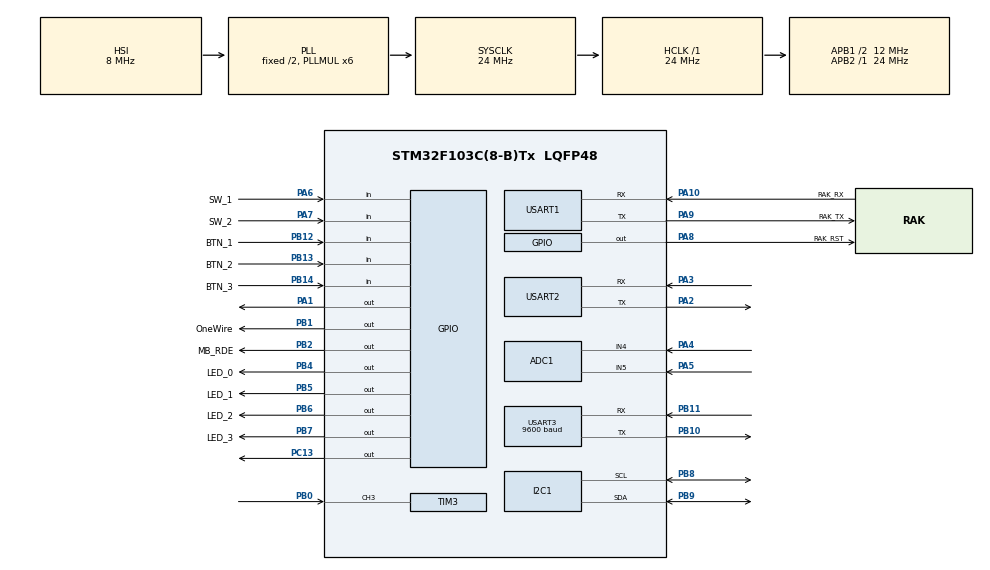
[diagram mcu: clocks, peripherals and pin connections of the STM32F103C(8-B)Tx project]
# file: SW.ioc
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ADC1.Channel-4\#ChannelRegularConversion=ADC_CHANNEL_4
ADC1.Channel-5\#ChannelRegularConversion=ADC_CHANNEL_5
ADC1.ContinuousConvMode=ENABLE
ADC1.DiscontinuousConvMode=DISABLE
ADC1.EnableRegularConversion=ENABLE
ADC1.NbrOfConversion=2
ADC1.NbrOfConversionFlag=1
ADC1.Rank-4\#ChannelRegularConversion=1
ADC1.Rank-5\#ChannelRegularConversion=2
ADC1.SamplingTime-4\#ChannelRegularConversion=ADC_SAMPLETIME_7CYCLES_5
ADC1.SamplingTime-5\#ChannelRegularConversion=ADC_SAMPLETIME_7CYCLES_5
ADC1.master=1
FREERTOS.HEAP_NUMBER=4
FREERTOS.MEMORY_ALLOCATION=2
FREERTOS.Tasks01=defaultTask,0,512,StartDefaultTask,Default,NULL,Static,defaultTaskBuffer,defaultTaskControlBlock
FREERTOS.configMAX_TASK_NAME_LEN=30
FREERTOS.configTOTAL_HEAP_SIZE=10240
FREERTOS.configUSE_TIMERS=1
I2C1.I2C_Mode=I2C_Standard
Mcu.Family=STM32F1
Mcu.Name=STM32F103C(8-B)Tx
Mcu.Package=LQFP48
NVIC.PriorityGroup=NVIC_PRIORITYGROUP_4
NVIC.TIM1_UP_IRQn=true\:0\:0\:false\:false\:true\:false\:false\:true
NVIC.TIM2_IRQn=true\:0\:0\:false\:false\:true\:true\:true\:true
NVIC.TIM3_IRQn=true\:0\:0\:false\:false\:true\:true\:true\:true
NVIC.TimeBase=TIM1_UP_IRQn
NVIC.TimeBaseIP=TIM1
NVIC.USART1_IRQn=true\:0\:0\:false\:false\:true\:true\:true\:true
NVIC.USART2_IRQn=true\:0\:0\:false\:false\:true\:true\:true\:true
NVIC.USART3_IRQn=true\:0\:0\:false\:false\:true\:true\:true\:true
PA1.Signal=GPIO_Output
PA10.GPIO_Label=RAK_RX
PA10.Mode=Asynchronous
PA10.Signal=USART1_RX
PA13.Mode=Serial_Wire
PA13.Signal=SYS_JTMS-SWDIO
PA14.Mode=Serial_Wire
PA14.Signal=SYS_JTCK-SWCLK
PA2.Mode=Asynchronous
PA2.Signal=USART2_TX
PA3.Mode=Asynchronous
PA3.Signal=USART2_RX
PA4.Signal=ADCx_IN4
PA5.Signal=ADCx_IN5
PA6.GPIO_Label=SW_1
PA6.Signal=GPIO_Input
PA7.GPIO_Label=SW_2
PA7.Signal=GPIO_Input
PA8.GPIO_Label=RAK_RST
PA8.PinState=GPIO_PIN_RESET
PA8.Signal=GPIO_Output
PA9.GPIO_Label=RAK_TX
PA9.Mode=Asynchronous
PA9.Signal=USART1_TX
PB0.Signal=S_TIM3_CH3
PB1.GPIO_Label=OneWire
PB1.Signal=GPIO_Output
PB10.Mode=Asynchronous
PB10.Signal=USART3_TX
PB11.Mode=Asynchronous
PB11.Signal=USART3_RX
PB12.GPIO_Label=BTN_1
PB12.GPIO_PuPd=GPIO_PULLUP
PB12.Signal=GPIO_Input
PB13.GPIO_Label=BTN_2
PB13.GPIO_PuPd=GPIO_PULLUP
PB13.Signal=GPIO_Input
PB14.GPIO_Label=BTN_3
PB14.GPIO_PuPd=GPIO_PULLUP
PB14.Signal=GPIO_Input
PB2.GPIO_Label=MB_RDE
PB2.GPIO_PuPd=GPIO_PULLUP
PB2.Signal=GPIO_Output
PB4.GPIO_Label=LED_0
PB4.Signal=GPIO_Output
PB5.GPIO_Label=LED_1
PB5.Signal=GPIO_Output
PB6.GPIO_Label=LED_2
PB6.Signal=GPIO_Output
PB7.GPIO_Label=LED_3
PB7.Signal=GPIO_Output
PB8.Mode=I2C
PB8.Signal=I2C1_SCL
PB9.Mode=I2C
PB9.Signal=I2C1_SDA
PC13-TAMPER-RTC.Signal=GPIO_Output
PC14-OSC32_IN.Mode=LSE-External-Oscillator
PC14-OSC32_IN.Signal=RCC_OSC32_IN
PC15-OSC32_OUT.Mode=LSE-External-Oscillator
PC15-OSC32_OUT.Signal=RCC_OSC32_OUT
PD0-OSC_IN.Mode=HSE-External-Oscillator
PD0-OSC_IN.Signal=RCC_OSC_IN
PD1-OSC_OUT.Mode=HSE-External-Oscillator
PD1-OSC_OUT.Signal=RCC_OSC_OUT
ProjectManager.HeapSize=0x200
ProjectManager.StackSize=0x400
ProjectManager.TargetToolchain=SW4STM32
RCC.AHBFreq_Value=24000000
RCC.APB1CLKDivider=RCC_HCLK_DIV2
RCC.APB1Freq_Value=12000000
RCC.APB1TimFreq_Value=24000000
RCC.APB2Freq_Value=24000000
RCC.APB2TimFreq_Value=24000000
RCC.DATA_CACHE_ENABLE=1
RCC.HCLKFreq_Value=24000000
RCC.HSE_VALUE=12000000
RCC.INSTRUCTION_CACHE_ENABLE=1
RCC.PLLMUL=RCC_PLL_MUL6
RCC.PWR_Regulator_Voltage_Scale=PWR_REGULATOR_VOLTAGE_SCALE1
RCC.RTCClockSelection=RCC_RTCCLKSOURCE_LSE
RCC.SYSCLKFreq_VALUE=24000000
RCC.SYSCLKSource=RCC_SYSCLKSOURCE_PLLCLK
RCC.USBFreq_Value=24000000
SH.ADCx_IN4.0=ADC1_IN4,IN4
SH.ADCx_IN5.0=ADC1_IN5,IN5
SH.S_TIM3_CH3.0=TIM3_CH3,Input_Capture3_from_TI3
TIM2.Period=49
TIM2.Prescaler=23
TIM3.Channel-Input_Capture3_from_TI3=TIM_CHANNEL_3
TIM3.Period=0xffff-1
TIM3.Prescaler=0
TIM4.Period=0xffff -1
TIM4.Prescaler=24-1
USART1.VirtualMode=VM_ASYNC
USART2.VirtualMode=VM_ASYNC
USART3.BaudRate=9600
USART3.VirtualMode=VM_ASYNC
VP_ADC1_TempSens_Input.Mode=IN-TempSens
VP_FREERTOS_VS_CMSIS_V1.Mode=CMSIS_V1
VP_SYS_VS_tim1.Mode=TIM1
VP_TIM2_VS_ClockSourceINT.Mode=Internal
VP_TIM3_VS_ClockSourceINT.Mode=Internal
VP_TIM4_VS_ClockSourceINT.Mode=Internal
board=custom

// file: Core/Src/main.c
/* USER CODE BEGIN Header */
/**
 ******************************************************************************
 * @file           : main.c
 * @brief          : Main program body
 ******************************************************************************
 * @attention
 *
 * <h2><center>&copy; Copyright (c) 2020 STMicroelectronics.
 * All rights reserved.</center></h2>
 *
 * This software component is licensed by ST under Ultimate Liberty license
 * SLA0044, the "License"; You may not use this file except in compliance with
 * the License. You may obtain a copy of the License at:
 *                             www.st.com/SLA0044
 *
 ******************************************************************************
 */
/* USER CODE END Header */

#include "main.h"
#include "cmsis_os.h"
#include "adc.h"
#include "i2c.h"
#include "tim.h"
#include "usart.h"
#include "gpio.h"

/* USER CODE BEGIN Includes */
#include "param.h"
/* USER CODE END Includes */

/* USER CODE BEGIN PV */
uint8_t PRINTF_EN = 1;
/* USER CODE END PV */

void SystemClock_Config(void);
void MX_FREERTOS_Init(void);
/* USER CODE BEGIN PFP */
void v_led_start(void);
/* USER CODE END PFP */

int main(void)
{

  /* MCU Configuration--------------------------------------------------------*/

  /* Reset of all peripherals, Initializes the Flash interface and the Systick. */
  HAL_Init();

  /* Configure the system clock */
  SystemClock_Config();

  /* Initialize all configured peripherals */
  MX_GPIO_Init();
  MX_ADC1_Init();
  MX_USART1_UART_Init();
  MX_USART2_UART_Init();
  MX_USART3_UART_Init();
  MX_TIM4_Init();
  MX_TIM3_Init();
  MX_I2C1_Init();
  MX_TIM2_Init();
  /* USER CODE BEGIN 2 */

//	HAL_I2C_MspInit(&hi2c1);
//	v_led_start();

	HAL_GPIO_WritePin(GPIOA, GPIO_PIN_8, RESET);
	HAL_Delay(10);
	HAL_GPIO_WritePin(GPIOA, GPIO_PIN_8, SET);
//while(1);
	/*Force to enable periphral manually */
	char *p = "NTT \r\n";
//	HAL_TIM_Base_Start(&htim4);  //delay_us => move to DHT when it is called to reduce power consuming
//
	__HAL_UART_ENABLE_IT(&huart2, UART_IT_RXNE);
//	 HAL_TIM_Base_Start(&htim3);
	/* Run the ADC calibration */
//	if (HAL_ADCEx_Calibration_Start(&hadc1) != HAL_OK) {
//		/* Calibration Error */
//		Error_Handler();
//	}
//  HAL_Delay(101);
  HAL_UART_Transmit(&huart1,p,6,100);
  HAL_UART_Transmit(&huart3,p,6,100);
//  HAL_UART_Transmit(&huart2,p,6,100);
	printf("---------- IOT Node ----------  \r\n");

	/*Load pre-paramter from eepROm*/
	printf(" Loading pre-configuration from EEPROM !!  \r\n");
	v_epr_load(PARAM_LOAD_ALL);
	if ((PARAM[NODE_HAVE_PARAM_ADR] == EEP_PARAM)||(PARAM[NODE_HAVE_PARAM_ADR] == FLASH_PARAM)) {

		/* Found pre-param from eeprom and apply it*/
		printf(" pre-configuration from EEPROM: %d  \r\n",
				PARAM[NODE_HAVE_PARAM_ADR]);
		//USER_USART3_UART_Init(); // Modbus re-config
		/*Todo: LORAWAN*/

	} else
	{
		printf(
				" Fail to find pre-configuration. Load defaul config instead.  \r\n");
		/* Load default config**/
		PARAM[NODE_HAVE_PARAM_ADR] = FLASH_PARAM;
		PARAM[NODE_ID_ADR] = NODE_ID_ADR_DEFAULT;
		PARAM[NODE_MB_ID_ADR] = NODE_MB_ID_DEFAULT;

//		PARAM[15] = 69;
//		PARAM[16] = 96;
		PARAM[NODE_LRWAN_DATARATE_ADR] = NODE_LRWAN_DATARATE_DEFAULT;
		PARAM[NODE_LRWAN_CLASS_ADR] = NODE_LRWAN_CLASS_DEFAULT;
		PARAM[NODE_LRWAN_FREQ_ADR] = NODE_LRWAN_FREQ_DEFAULT;
		PARAM[NODE_LRWAN_CONFIRM_ADR] = NODE_LRWAN_CONFIRM_DEFAULT;
		PARAM[NODE_LRWAN_MODE_ADR] = NODE_LRWAN_MODE_DEFAULT;
		PARAM[NODE_LRWAN_TX_POWER_ADR] =NODE_LRWAN_TX_POWER_DEFAULT ;

		PARAM[NODE_IO_PORT_0_ADR] = NODE_IO_PORT_0_DEFAULT;
		PARAM[NODE_IO_PORT_0_ADR + 1] = 0x00;
		PARAM[NODE_IO_PORT_1_ADR] = NODE_IO_PORT_1_DEFAULT;
		PARAM[NODE_IO_PORT_1_ADR + 1] = 0x01;
		PARAM[NODE_IO_PORT_2_ADR] = NODE_IO_PORT_2_DEFAULT;
		PARAM[NODE_IO_PORT_2_ADR + 1] = 0x02;
		PARAM[NODE_IO_PORT_3_ADR] = NODE_IO_PORT_3_DEFAULT;
		PARAM[NODE_IO_PORT_3_ADR + 1] = 0x03;
		PARAM[NODE_IO_PORT_4_ADR] = NODE_IO_PORT_4_DEFAULT;
		PARAM[NODE_IO_PORT_4_ADR + 1] = 0x04;
		PARAM[NODE_IO_PORT_5_ADR] = NODE_IO_PORT_5_DEFAULT;
		PARAM[NODE_IO_PORT_5_ADR + 1] = 0x05;
		v_epr_save(PARAM_LOAD_ALL);
//		memset(PARAM,0,120);
///
		/*Notify to the Led and jump in to vAppConfiguationTask !!**/

	}
	DBG2("Test Macro DBG 2\n");
	/* Print the configuration before jump into RTOS*/
	printf("Param type   %d \r\n",PARAM[NODE_HAVE_PARAM_ADR]  );
	printf("Node ID	     %d \r\n",PARAM[NODE_ID_ADR]  );
	printf("Modbus ID    %d \r\n",PARAM[NODE_MB_ID_ADR]  );
	printf("LRWAN DR     %d \r\n",PARAM[NODE_LRWAN_DATARATE_ADR]  );
	printf("LRWAN Class  %d \r\n",PARAM[NODE_LRWAN_CLASS_ADR]  );
	printf("LRWAN cf     %d \r\n",PARAM[NODE_LRWAN_CONFIRM_ADR]  );
	printf("LRWAN tx     %d \r\n",PARAM[NODE_LRWAN_TX_POWER_ADR]  );
	printf("LRWAN mode   %d \r\n",PARAM[NODE_LRWAN_MODE_ADR]  );
	printf("Port 1 type  %d \r\n",PARAM[NODE_IO_PORT_0_ADR]  );
	printf("Port 2 type  %d \r\n",PARAM[NODE_IO_PORT_1_ADR]  );
	printf("Port 3 type  %d \r\n",PARAM[NODE_IO_PORT_2_ADR]  );
	printf("Port 4 type  %d \r\n",PARAM[NODE_IO_PORT_3_ADR]  );
	printf("Port 5 type  %d \r\n",PARAM[NODE_IO_PORT_4_ADR]  );
	printf("Port 6 type  %d \r\n",PARAM[NODE_IO_PORT_5_ADR]  );

//	v_epr_load(PARAM_LOAD_ALL);
//	for (uint8_t paramIndex = 0; paramIndex < 120; paramIndex++) {
//		DBG("ParamLoaded %d: %d \r\n", paramIndex, PARAM[paramIndex]);
//		HAL_Delay(10);
//	}
	printf("Booting to RTOS   \r\n");

  /* USER CODE END 2 */

  /* Call init function for freertos objects (in freertos.c) */
  MX_FREERTOS_Init();
  /* Start scheduler */
  osKernelStart();

  /* We should never get here as control is now taken by the scheduler */
  /* Infinite loop */
	while (1) {
	}
}

void SystemClock_Config(void)
{
  RCC_OscInitTypeDef RCC_OscInitStruct = {0};
  RCC_ClkInitTypeDef RCC_ClkInitStruct = {0};
  RCC_PeriphCLKInitTypeDef PeriphClkInit = {0};

  /** Initializes the CPU, AHB and APB busses clocks
  */
  RCC_OscInitStruct.OscillatorType = RCC_OSCILLATORTYPE_HSI;
  RCC_OscInitStruct.HSIState = RCC_HSI_ON;
  RCC_OscInitStruct.HSICalibrationValue = RCC_HSICALIBRATION_DEFAULT;
  RCC_OscInitStruct.PLL.PLLState = RCC_PLL_ON;
  RCC_OscInitStruct.PLL.PLLSource = RCC_PLLSOURCE_HSI_DIV2;
  RCC_OscInitStruct.PLL.PLLMUL = RCC_PLL_MUL6;
  if (HAL_RCC_OscConfig(&RCC_OscInitStruct) != HAL_OK)
  {
    Error_Handler();
  }
  /** Initializes the CPU, AHB and APB busses clocks
  */
  RCC_ClkInitStruct.ClockType = RCC_CLOCKTYPE_HCLK|RCC_CLOCKTYPE_SYSCLK
                              |RCC_CLOCKTYPE_PCLK1|RCC_CLOCKTYPE_PCLK2;
  RCC_ClkInitStruct.SYSCLKSource = RCC_SYSCLKSOURCE_PLLCLK;
  RCC_ClkInitStruct.AHBCLKDivider = RCC_SYSCLK_DIV1;
  RCC_ClkInitStruct.APB1CLKDivider = RCC_HCLK_DIV2;
  RCC_ClkInitStruct.APB2CLKDivider = RCC_HCLK_DIV1;

  if (HAL_RCC_ClockConfig(&RCC_ClkInitStruct, FLASH_LATENCY_0) != HAL_OK)
  {
    Error_Handler();
  }
  PeriphClkInit.PeriphClockSelection = RCC_PERIPHCLK_ADC;
  PeriphClkInit.AdcClockSelection = RCC_ADCPCLK2_DIV2;
  if (HAL_RCCEx_PeriphCLKConfig(&PeriphClkInit) != HAL_OK)
  {
    Error_Handler();
  }
}

/* USER CODE BEGIN 4 */
void delay_us(uint32_t time) {
	/* */
	__HAL_TIM_SET_COUNTER(&htim4, 0);
	while (__HAL_TIM_GET_COUNTER(&htim4) < time);
}

/* USER CODE BEGIN 4 */
PUTCHAR_PROTOTYPE {
	/* Place your implementation of fputc here */
	/* e.g. write a character to the USART */
//  USART_SendData(EVAL_COM1, (uint8_t) ch);
	HAL_UART_Transmit(&huart3, (uint8_t *) &ch, 1, 0xFFFF);

	/* Loop until the end of transmission */
//  while (USART_GetFlagStatus(EVAL_COM1, USART_FLAG_TC) == RESET)
//  {}
	return ch;
}

void v_led_start(void) {

	for (uint8_t num = 0; num < 15; num++) {
		HAL_GPIO_TogglePin(LED_0_GPIO_Port, LED_3_Pin);
		HAL_Delay(50);
		HAL_GPIO_TogglePin(LED_0_GPIO_Port, LED_2_Pin);
		HAL_Delay(50);
		HAL_GPIO_TogglePin(LED_0_GPIO_Port, LED_1_Pin);
		HAL_Delay(50);
		HAL_GPIO_TogglePin(LED_0_GPIO_Port, LED_0_Pin);
		HAL_Delay(50);

	}
}
/* USER CODE END 4 */

 /**
  * @brief  Period elapsed callback in non blocking mode
  * @note   This function is called  when TIM1 interrupt took place, inside
  * HAL_TIM_IRQHandler(). It makes a direct call to HAL_IncTick() to increment
  * a global variable "uwTick" used as application time base.
  * @param  htim : TIM handle
  * @retval None
  */
void HAL_TIM_PeriodElapsedCallback(TIM_HandleTypeDef *htim)
{
  if (htim->Instance == TIM1) {
    HAL_IncTick();
  }
}

void Error_Handler(void)
{
}

/************************ (C) COPYRIGHT STMicroelectronics *****END OF FILE****/
